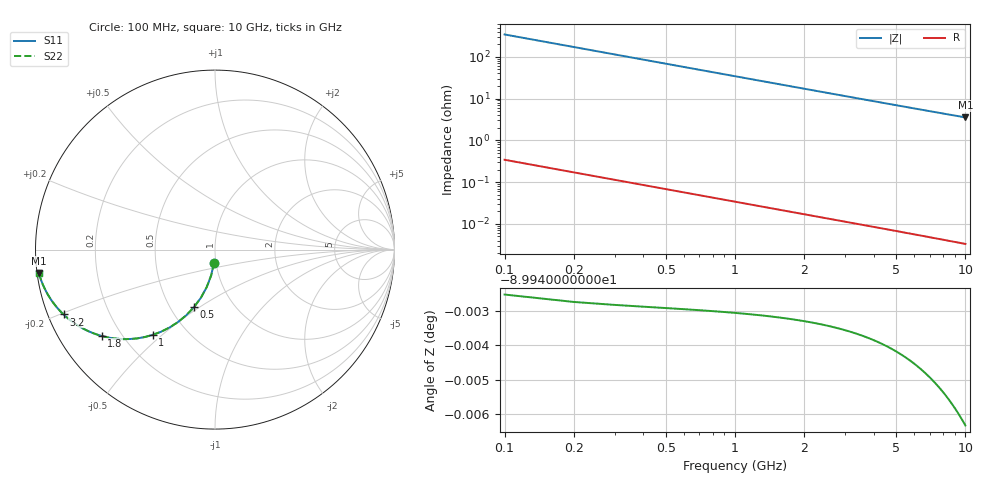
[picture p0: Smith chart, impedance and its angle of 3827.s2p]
# Hz S RI R 50.00
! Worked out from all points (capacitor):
!   100 points, 100 MHz to 10 GHz, reference 50 ohm
!   read as one part in shunt: C = 4.65 pF near 100 MHz
!   lowest |Z| = 3.54 ohm at 10 GHz (marker M1)
!   S11 on the Smith chart (normalised r, x): 100 MHz: 0.98, -0.14; 500 MHz: 0.65, -0.48; 1 GHz: 0.32, -0.47; 1.8 GHz: 0.13, -0.33; 3.2 GHz: 0.04, -0.20; 10 GHz: 0.01, -0.07
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1e8  -0.00538 -0.0726  0.9946 -0.0727  0.9946 -0.0727  -0.00538 -0.0726
2e8  -0.021 -0.1429  0.9789 -0.1431  0.9789 -0.1431  -0.021 -0.1429
3e8  -0.046 -0.2089  0.954 -0.2092  0.954 -0.2092  -0.046 -0.2089
4e8  -0.0789 -0.2689  0.9211 -0.2692  0.9211 -0.2692  -0.0789 -0.2689
5e8  -0.1179 -0.3218  0.8821 -0.3222  0.8821 -0.3222  -0.1179 -0.3218
6e8  -0.1613 -0.3671  0.8387 -0.3675  0.8387 -0.3675  -0.1613 -0.3671
7e8  -0.2073 -0.4046  0.7927 -0.4052  0.7927 -0.4052  -0.2073 -0.4046
8e8  -0.2545 -0.4347  0.7455 -0.4354  0.7455 -0.4354  -0.2545 -0.4347
1e9  -0.3476 -0.4753  0.6524 -0.4761  0.6524 -0.4761  -0.3476 -0.4753
1.3e9  -0.4733 -0.4982  0.5267 -0.4993  0.5267 -0.4993  -0.4733 -0.4982
1.5e9  -0.5444 -0.4969  0.4555 -0.4981  0.4555 -0.4981  -0.5444 -0.4969
1.8e9  -0.6321 -0.481  0.3679 -0.4825  0.3679 -0.4825  -0.6321 -0.481
2.1e9  -0.7001 -0.4568  0.2998 -0.4586  0.2998 -0.4586  -0.7001 -0.4568
2.4e9  -0.7528 -0.4299  0.2472 -0.4319  0.2472 -0.4319  -0.7528 -0.4299
2.8e9  -0.8054 -0.3942  0.1946 -0.3966  0.1946 -0.3966  -0.8054 -0.3942
3.2e9  -0.8437 -0.3613  0.1563 -0.364  0.1563 -0.364  -0.8437 -0.3613
3.4e9  -0.8589 -0.3462  0.1411 -0.349  0.1411 -0.349  -0.8589 -0.3462
4.2e9  -0.9026 -0.2942  0.0974 -0.2978  0.0974 -0.2978  -0.9026 -0.2942
5.1e9  -0.9317 -0.2496  0.0683 -0.2539  0.0683 -0.2539  -0.9317 -0.2496
6.7e9  -0.9592 -0.1944  0.0408 -0.2001  0.0408 -0.2001  -0.9592 -0.1944
8.4e9  -0.9737 -0.1559  0.0263 -0.1632  0.0263 -0.1632  -0.9737 -0.1559
1e10  -0.9813 -0.1305  0.0186 -0.1391  0.0186 -0.1391  -0.9813 -0.1305
